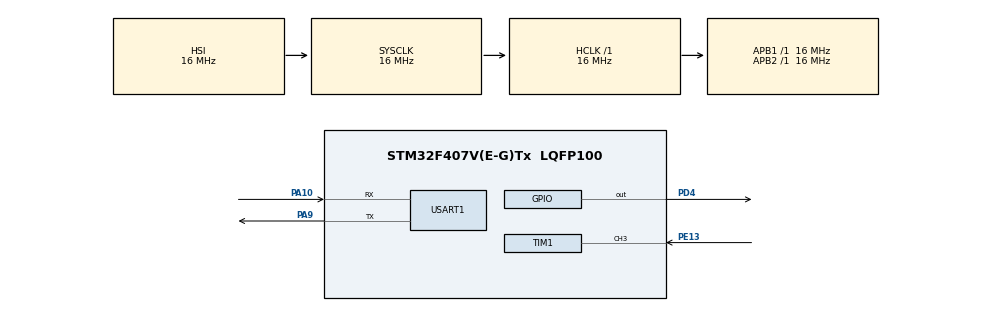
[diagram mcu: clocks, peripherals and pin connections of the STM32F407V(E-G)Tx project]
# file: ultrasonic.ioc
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Mcu.Family=STM32F4
Mcu.Name=STM32F407V(E-G)Tx
Mcu.Package=LQFP100
NVIC.PriorityGroup=NVIC_PRIORITYGROUP_4
NVIC.TIM1_CC_IRQn=true\:0\:0\:false\:false\:true\:true\:true
PA10.Mode=Asynchronous
PA10.Signal=USART1_RX
PA9.Mode=Asynchronous
PA9.Signal=USART1_TX
PD4.Signal=GPIO_Output
PE13.Signal=S_TIM1_CH3
ProjectManager.HeapSize=0x200
ProjectManager.StackSize=0x400
ProjectManager.TargetToolchain=STM32CubeIDE
RCC.AHBFreq_Value=16000000
RCC.APB1Freq_Value=16000000
RCC.APB2Freq_Value=16000000
RCC.APB2TimFreq_Value=16000000
RCC.CortexFreq_Value=16000000
RCC.HSE_VALUE=25000000
RCC.HSI_VALUE=16000000
RCC.LSE_VALUE=32768
RCC.SYSCLKFreq_VALUE=16000000
RCC.VCOOutputFreq_Value=192000000
SH.S_TIM1_CH3.0=TIM1_CH3,Input_Capture3_from_TI3
TIM1.Channel-Input_Capture3_from_TI3=TIM_CHANNEL_3
TIM1.Period=0xffff-1
TIM1.Prescaler=32-1
USART1.VirtualMode=VM_ASYNC
board=custom

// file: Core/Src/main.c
/* USER CODE BEGIN Header */
/**
  ******************************************************************************
  * @file           : main.c
  * @brief          : Read values from the HC-SR04 ultrasonic sensor.
  ******************************************************************************
  * @attention
  *
  * Copyright (c) 2022 STMicroelectronics.
  * All rights reserved.
  *
  * This software is licensed under terms that can be found in the LICENSE file
  * in the root directory of this software component.
  * If no LICENSE file comes with this software, it is provided AS-IS.
  *
  ******************************************************************************
  */
/* USER CODE END Header */
#include "main.h"

/* USER CODE BEGIN Includes */
#include <string.h>
#include <stdio.h>
/* USER CODE END Includes */

/* USER CODE BEGIN PD */
#define UART_TIMEOUT_VAL 		100
#define TRIG_PORT 				GPIOD
#define TRIG_PIN 				GPIO_PIN_4
#define ULTRASONIC_BIAS_CM		1
/* USER CODE END PD */

TIM_HandleTypeDef htim1;

UART_HandleTypeDef huart1;

void SystemClock_Config(void);
static void MX_GPIO_Init(void);
static void MX_USART1_UART_Init(void);
static void MX_TIM1_Init(void);

/* USER CODE BEGIN 0 */
volatile uint32_t IC_Val1 = 0;
volatile uint32_t IC_Val2 = 0;
volatile uint32_t Difference = 0;
volatile uint8_t Is_First_Captured = 0;  // is the first value captured ?
volatile double Distance  = 0;

char buf[50];
uint8_t uart_buf_len;

// Delay the microprocessor. The Timer1 has been set to 1MHZ by the prescalar.
// Thus 1 tick is equal to 1 microsecond.
void delay_microsecond (uint16_t time)
{
	__HAL_TIM_SET_COUNTER(&htim1, 0);
	uint16_t dur = time * 2;
	while (__HAL_TIM_GET_COUNTER (&htim1) < dur);
}

void HCSR04_Read (void)
{
	HAL_GPIO_WritePin(TRIG_PORT, TRIG_PIN, GPIO_PIN_SET);  // pull the TRIG pin HIGH
	delay_microsecond(10);  // wait for 10 us
	HAL_GPIO_WritePin(TRIG_PORT, TRIG_PIN, GPIO_PIN_RESET);  // pull the TRIG pin low

	__HAL_TIM_ENABLE_IT(&htim1, TIM_IT_CC3); // Enable interrupts
}

void HAL_TIM_IC_CaptureCallback(TIM_HandleTypeDef *htim)
{
	if (htim->Channel == HAL_TIM_ACTIVE_CHANNEL_3)  // if the interrupt source is channel 3
	{
		if (Is_First_Captured==0) // if the first value is not captured
		{
			IC_Val1 = HAL_TIM_ReadCapturedValue(htim, TIM_CHANNEL_3); // read the first value
			Is_First_Captured = 1;  // set the first captured as true
			// Now change the polarity to falling edge
			__HAL_TIM_SET_CAPTUREPOLARITY(htim, TIM_CHANNEL_3, TIM_INPUTCHANNELPOLARITY_FALLING);
		}

		else if (Is_First_Captured==1)   // if the first is already captured
		{
			IC_Val2 = HAL_TIM_ReadCapturedValue(htim, TIM_CHANNEL_3);  // read second value

			if (IC_Val2 > IC_Val1)
			{
				Difference = IC_Val2-IC_Val1;
			}

			else if (IC_Val1 > IC_Val2)
			{
				Difference = (0xffff - IC_Val1) + IC_Val2;
			}

			Distance = (double)Difference * 0.0686/2;
			Is_First_Captured = 0; // set it back to false

			__HAL_TIM_SET_COUNTER(htim, 0);  // reset the counter
			// set polarity to rising edge
			__HAL_TIM_SET_CAPTUREPOLARITY(htim, TIM_CHANNEL_3, TIM_INPUTCHANNELPOLARITY_RISING);
			__HAL_TIM_DISABLE_IT(&htim1, TIM_IT_CC3);
		}
	}
}

/* USER CODE END 0 */

int main(void)
{

  /* MCU Configuration--------------------------------------------------------*/

  /* Reset of all peripherals, Initializes the Flash interface and the Systick. */
  HAL_Init();

  /* Configure the system clock */
  SystemClock_Config();

  /* Initialize all configured peripherals */
  MX_GPIO_Init();
  MX_USART1_UART_Init();
  MX_TIM1_Init();
  /* USER CODE BEGIN 2 */
  HAL_TIM_IC_Start_IT(&htim1, TIM_CHANNEL_3); // IMPORTANT
  /* USER CODE END 2 */

  /* Infinite loop */
  /* USER CODE BEGIN WHILE */
  while (1)
  {
	  HCSR04_Read();

	  uart_buf_len = sprintf(buf, "%.2f\r\n", Distance);
	  HAL_UART_Transmit(&huart1, (uint8_t*)buf, uart_buf_len, UART_TIMEOUT_VAL);

	  HAL_Delay(500);
    /* USER CODE END WHILE */

  }
}

void SystemClock_Config(void)
{
  RCC_OscInitTypeDef RCC_OscInitStruct = {0};
  RCC_ClkInitTypeDef RCC_ClkInitStruct = {0};

  /** Configure the main internal regulator output voltage
  */
  __HAL_RCC_PWR_CLK_ENABLE();
  __HAL_PWR_VOLTAGESCALING_CONFIG(PWR_REGULATOR_VOLTAGE_SCALE1);
  /** Initializes the RCC Oscillators according to the specified parameters
  * in the RCC_OscInitTypeDef structure.
  */
  RCC_OscInitStruct.OscillatorType = RCC_OSCILLATORTYPE_HSI;
  RCC_OscInitStruct.HSIState = RCC_HSI_ON;
  RCC_OscInitStruct.HSICalibrationValue = RCC_HSICALIBRATION_DEFAULT;
  RCC_OscInitStruct.PLL.PLLState = RCC_PLL_NONE;
  if (HAL_RCC_OscConfig(&RCC_OscInitStruct) != HAL_OK)
  {
    Error_Handler();
  }
  /** Initializes the CPU, AHB and APB buses clocks
  */
  RCC_ClkInitStruct.ClockType = RCC_CLOCKTYPE_HCLK|RCC_CLOCKTYPE_SYSCLK
                              |RCC_CLOCKTYPE_PCLK1|RCC_CLOCKTYPE_PCLK2;
  RCC_ClkInitStruct.SYSCLKSource = RCC_SYSCLKSOURCE_HSI;
  RCC_ClkInitStruct.AHBCLKDivider = RCC_SYSCLK_DIV1;
  RCC_ClkInitStruct.APB1CLKDivider = RCC_HCLK_DIV1;
  RCC_ClkInitStruct.APB2CLKDivider = RCC_HCLK_DIV1;

  if (HAL_RCC_ClockConfig(&RCC_ClkInitStruct, FLASH_LATENCY_0) != HAL_OK)
  {
    Error_Handler();
  }
}

static void MX_TIM1_Init(void)
{

  TIM_MasterConfigTypeDef sMasterConfig = {0};
  TIM_IC_InitTypeDef sConfigIC = {0};

  htim1.Instance = TIM1;
  htim1.Init.Prescaler = 32-1;
  htim1.Init.CounterMode = TIM_COUNTERMODE_UP;
  htim1.Init.Period = 0xffff-1;
  htim1.Init.ClockDivision = TIM_CLOCKDIVISION_DIV1;
  htim1.Init.RepetitionCounter = 0;
  htim1.Init.AutoReloadPreload = TIM_AUTORELOAD_PRELOAD_DISABLE;
  if (HAL_TIM_IC_Init(&htim1) != HAL_OK)
  {
    Error_Handler();
  }
  sMasterConfig.MasterOutputTrigger = TIM_TRGO_RESET;
  sMasterConfig.MasterSlaveMode = TIM_MASTERSLAVEMODE_DISABLE;
  if (HAL_TIMEx_MasterConfigSynchronization(&htim1, &sMasterConfig) != HAL_OK)
  {
    Error_Handler();
  }
  sConfigIC.ICPolarity = TIM_INPUTCHANNELPOLARITY_RISING;
  sConfigIC.ICSelection = TIM_ICSELECTION_DIRECTTI;
  sConfigIC.ICPrescaler = TIM_ICPSC_DIV1;
  sConfigIC.ICFilter = 0;
  if (HAL_TIM_IC_ConfigChannel(&htim1, &sConfigIC, TIM_CHANNEL_3) != HAL_OK)
  {
    Error_Handler();
  }

}

static void MX_USART1_UART_Init(void)
{

  huart1.Instance = USART1;
  huart1.Init.BaudRate = 115200;
  huart1.Init.WordLength = UART_WORDLENGTH_8B;
  huart1.Init.StopBits = UART_STOPBITS_1;
  huart1.Init.Parity = UART_PARITY_NONE;
  huart1.Init.Mode = UART_MODE_TX_RX;
  huart1.Init.HwFlowCtl = UART_HWCONTROL_NONE;
  huart1.Init.OverSampling = UART_OVERSAMPLING_16;
  if (HAL_UART_Init(&huart1) != HAL_OK)
  {
    Error_Handler();
  }

}

static void MX_GPIO_Init(void)
{
  GPIO_InitTypeDef GPIO_InitStruct = {0};

  /* GPIO Ports Clock Enable */
  __HAL_RCC_GPIOE_CLK_ENABLE();
  __HAL_RCC_GPIOA_CLK_ENABLE();
  __HAL_RCC_GPIOD_CLK_ENABLE();

  /*Configure GPIO pin Output Level */
  HAL_GPIO_WritePin(GPIOD, GPIO_PIN_4, GPIO_PIN_RESET);

  /*Configure GPIO pin : PD4 */
  GPIO_InitStruct.Pin = GPIO_PIN_4;
  GPIO_InitStruct.Mode = GPIO_MODE_OUTPUT_PP;
  GPIO_InitStruct.Pull = GPIO_NOPULL;
  GPIO_InitStruct.Speed = GPIO_SPEED_FREQ_LOW;
  HAL_GPIO_Init(GPIOD, &GPIO_InitStruct);

}

void Error_Handler(void)
{
  __disable_irq();
  while (1)
  {
  }
}
